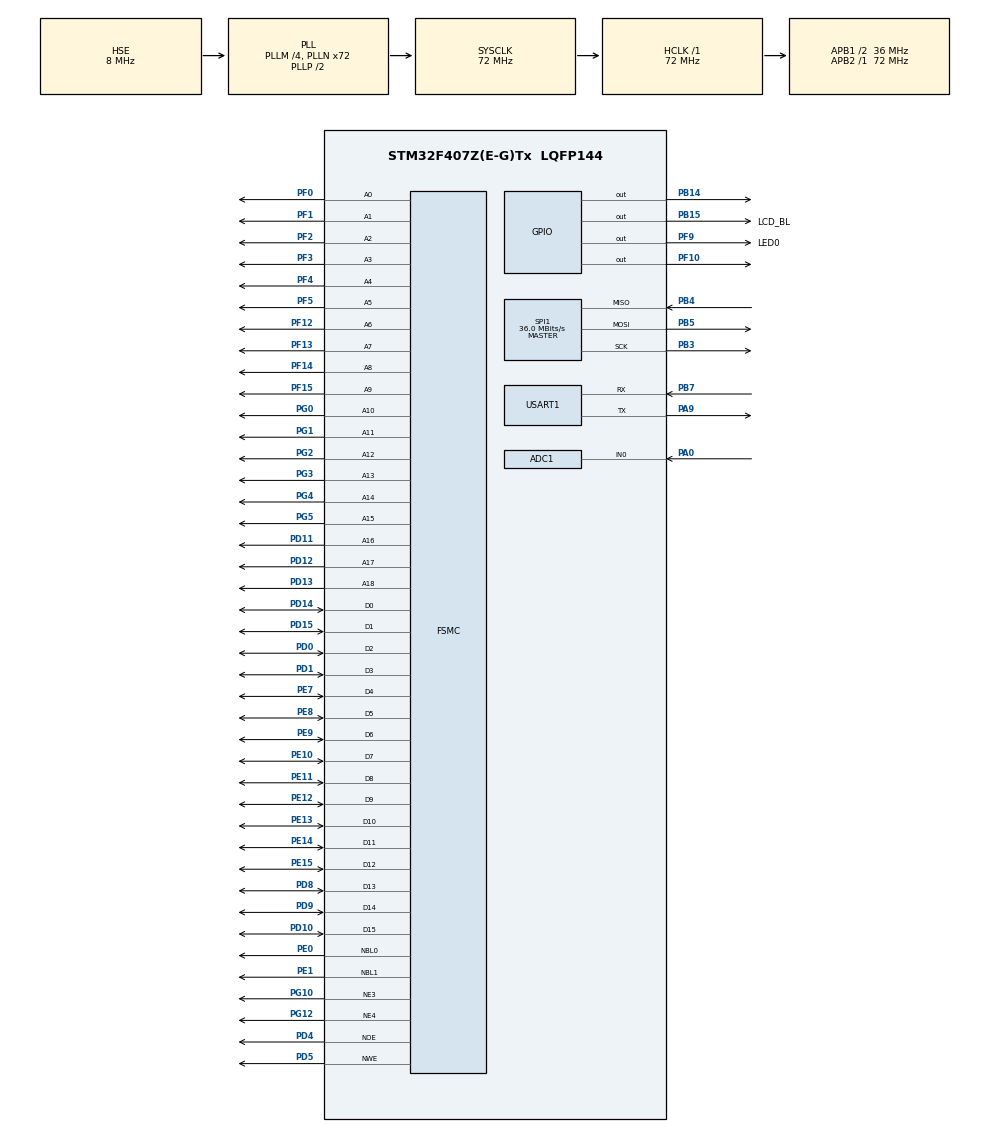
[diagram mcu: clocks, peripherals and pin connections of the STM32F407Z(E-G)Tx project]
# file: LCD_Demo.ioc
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ADC1.Channel-0\#ChannelRegularConversion=ADC_CHANNEL_0
ADC1.ClockPrescaler=ADC_CLOCK_SYNC_PCLK_DIV4
ADC1.NbrOfConversionFlag=1
ADC1.Rank-0\#ChannelRegularConversion=1
ADC1.SamplingTime-0\#ChannelRegularConversion=ADC_SAMPLETIME_3CYCLES
ADC1.master=1
FSMC.AddressSetupTime2=0x00
FSMC.BusTurnAroundDuration1=0
FSMC.BusTurnAroundDuration2=0x00
FSMC.DataSetupTime1=60
FSMC.DataSetupTime2=0x08
FSMC.ExtendedAddressSetupTime1=9
FSMC.ExtendedBusTurnAroundDuration1=0
FSMC.ExtendedDataSetupTime1=8
FSMC.ExtendedMode1=FSMC_EXTENDED_MODE_ENABLE
FSMC.WriteOperation2=FSMC_WRITE_OPERATION_ENABLE
Mcu.Family=STM32F4
Mcu.Name=STM32F407Z(E-G)Tx
Mcu.Package=LQFP144
NVIC.ADC_IRQn=true\:0\:0\:false\:false\:true\:true\:true
NVIC.PriorityGroup=NVIC_PRIORITYGROUP_4
NVIC.TIM3_IRQn=true\:1\:0\:true\:false\:true\:true\:true
PA0-WKUP.Signal=ADCx_IN0
PA13.Mode=Serial_Wire
PA13.Signal=SYS_JTMS-SWDIO
PA14.Mode=Serial_Wire
PA14.Signal=SYS_JTCK-SWCLK
PA9.Mode=Asynchronous
PA9.Signal=USART1_TX
PB14.Signal=GPIO_Output
PB15.GPIO_Label=LCD_BL
PB15.Signal=GPIO_Output
PB3.Mode=Full_Duplex_Master
PB3.Signal=SPI1_SCK
PB4.Mode=Full_Duplex_Master
PB4.Signal=SPI1_MISO
PB5.Mode=Full_Duplex_Master
PB5.Signal=SPI1_MOSI
PB7.Mode=Asynchronous
PB7.Signal=USART1_RX
PC14-OSC32_IN.Mode=LSE-External-Oscillator
PC14-OSC32_IN.Signal=RCC_OSC32_IN
PC15-OSC32_OUT.Mode=LSE-External-Oscillator
PC15-OSC32_OUT.Signal=RCC_OSC32_OUT
PD0.Signal=FSMC_D2_DA2
PD1.Signal=FSMC_D3_DA3
PD10.Signal=FSMC_D15_DA15
PD11.Signal=FSMC_A16_CLE
PD12.Signal=FSMC_A17_ALE
PD13.Signal=FSMC_A18
PD14.Signal=FSMC_D0_DA0
PD15.Signal=FSMC_D1_DA1
PD4.Signal=FSMC_NOE
PD5.Signal=FSMC_NWE
PD8.Signal=FSMC_D13_DA13
PD9.Signal=FSMC_D14_DA14
PE0.Signal=FSMC_NBL0
PE1.Signal=FSMC_NBL1
PE10.Signal=FSMC_D7_DA7
PE11.Signal=FSMC_D8_DA8
PE12.Signal=FSMC_D9_DA9
PE13.Signal=FSMC_D10_DA10
PE14.Signal=FSMC_D11_DA11
PE15.Signal=FSMC_D12_DA12
PE7.Signal=FSMC_D4_DA4
PE8.Signal=FSMC_D5_DA5
PE9.Signal=FSMC_D6_DA6
PF0.Signal=FSMC_A0
PF1.Signal=FSMC_A1
PF10.Signal=GPIO_Output
PF12.Signal=FSMC_A6
PF13.Signal=FSMC_A7
PF14.Signal=FSMC_A8
PF15.Signal=FSMC_A9
PF2.Signal=FSMC_A2
PF3.Signal=FSMC_A3
PF4.Signal=FSMC_A4
PF5.Signal=FSMC_A5
PF9.GPIO_Label=LED0
PF9.Signal=GPIO_Output
PG0.Signal=FSMC_A10
PG1.Signal=FSMC_A11
PG10.Mode=NorPsramChipSelect3_2
PG10.Signal=FSMC_NE3
PG12.Mode=NorPsramChipSelect4_1
PG12.Signal=FSMC_NE4
PG2.Signal=FSMC_A12
PG3.Signal=FSMC_A13
PG4.Signal=FSMC_A14
PG5.Signal=FSMC_A15
PH0-OSC_IN.Mode=HSE-External-Oscillator
PH0-OSC_IN.Signal=RCC_OSC_IN
PH1-OSC_OUT.Mode=HSE-External-Oscillator
PH1-OSC_OUT.Signal=RCC_OSC_OUT
ProjectManager.HeapSize=0x200
ProjectManager.StackSize=0x400
ProjectManager.TargetToolchain=MDK-ARM V5.32
RCC.48MHZClocksFreq_Value=48000000
RCC.AHBFreq_Value=72000000
RCC.APB1CLKDivider=RCC_HCLK_DIV2
RCC.APB1Freq_Value=36000000
RCC.APB1TimFreq_Value=72000000
RCC.APB2Freq_Value=72000000
RCC.APB2TimFreq_Value=72000000
RCC.CortexFreq_Value=72000000
RCC.HCLKFreq_Value=72000000
RCC.HSE_VALUE=8000000
RCC.HSI_VALUE=16000000
RCC.PLLM=4
RCC.PLLN=72
RCC.PLLQ=3
RCC.PLLSourceVirtual=RCC_PLLSOURCE_HSE
RCC.SYSCLKFreq_VALUE=72000000
RCC.SYSCLKSource=RCC_SYSCLKSOURCE_PLLCLK
RCC.VCOOutputFreq_Value=144000000
SH.ADCx_IN0.0=ADC1_IN0,IN0
SH.FSMC_A0.0=FSMC_A0,19b-a2
SH.FSMC_A1.0=FSMC_A1,19b-a2
SH.FSMC_A10.0=FSMC_A10,19b-a2
SH.FSMC_A11.0=FSMC_A11,19b-a2
SH.FSMC_A12.0=FSMC_A12,19b-a2
SH.FSMC_A13.0=FSMC_A13,19b-a2
SH.FSMC_A14.0=FSMC_A14,19b-a2
SH.FSMC_A15.0=FSMC_A15,19b-a2
SH.FSMC_A16_CLE.0=FSMC_A16,19b-a2
SH.FSMC_A17_ALE.0=FSMC_A17,19b-a2
SH.FSMC_A18.0=FSMC_A18,19b-a2
SH.FSMC_A2.0=FSMC_A2,19b-a2
SH.FSMC_A3.0=FSMC_A3,19b-a2
SH.FSMC_A4.0=FSMC_A4,19b-a2
SH.FSMC_A5.0=FSMC_A5,19b-a2
SH.FSMC_A6.0=FSMC_A6,A6_1
SH.FSMC_A6.1=FSMC_A6,19b-a2
SH.FSMC_A7.0=FSMC_A7,19b-a2
SH.FSMC_A8.0=FSMC_A8,19b-a2
SH.FSMC_A9.0=FSMC_A9,19b-a2
SH.FSMC_D0_DA0.0=FSMC_D0,16b-d1
SH.FSMC_D0_DA0.1=FSMC_D0,16b-d2
SH.FSMC_D10_DA10.0=FSMC_D10,16b-d1
SH.FSMC_D10_DA10.1=FSMC_D10,16b-d2
SH.FSMC_D11_DA11.0=FSMC_D11,16b-d1
SH.FSMC_D11_DA11.1=FSMC_D11,16b-d2
SH.FSMC_D12_DA12.0=FSMC_D12,16b-d1
SH.FSMC_D12_DA12.1=FSMC_D12,16b-d2
SH.FSMC_D13_DA13.0=FSMC_D13,16b-d1
SH.FSMC_D13_DA13.1=FSMC_D13,16b-d2
SH.FSMC_D14_DA14.0=FSMC_D14,16b-d1
SH.FSMC_D14_DA14.1=FSMC_D14,16b-d2
SH.FSMC_D15_DA15.0=FSMC_D15,16b-d1
SH.FSMC_D15_DA15.1=FSMC_D15,16b-d2
SH.FSMC_D1_DA1.0=FSMC_D1,16b-d1
SH.FSMC_D1_DA1.1=FSMC_D1,16b-d2
SH.FSMC_D2_DA2.0=FSMC_D2,16b-d1
SH.FSMC_D2_DA2.1=FSMC_D2,16b-d2
SH.FSMC_D3_DA3.0=FSMC_D3,16b-d1
SH.FSMC_D3_DA3.1=FSMC_D3,16b-d2
SH.FSMC_D4_DA4.0=FSMC_D4,16b-d1
SH.FSMC_D4_DA4.1=FSMC_D4,16b-d2
SH.FSMC_D5_DA5.0=FSMC_D5,16b-d1
SH.FSMC_D5_DA5.1=FSMC_D5,16b-d2
SH.FSMC_D6_DA6.0=FSMC_D6,16b-d1
SH.FSMC_D6_DA6.1=FSMC_D6,16b-d2
SH.FSMC_D7_DA7.0=FSMC_D7,16b-d1
SH.FSMC_D7_DA7.1=FSMC_D7,16b-d2
SH.FSMC_D8_DA8.0=FSMC_D8,16b-d1
SH.FSMC_D8_DA8.1=FSMC_D8,16b-d2
SH.FSMC_D9_DA9.0=FSMC_D9,16b-d1
SH.FSMC_D9_DA9.1=FSMC_D9,16b-d2
SH.FSMC_NBL0.0=FSMC_NBL0,2ByteEnable2
SH.FSMC_NBL1.0=FSMC_NBL1,2ByteEnable2
SH.FSMC_NOE.0=FSMC_NOE,Lcd1
SH.FSMC_NOE.1=FSMC_NOE,Sram2
SH.FSMC_NWE.0=FSMC_NWE,Lcd1
SH.FSMC_NWE.1=FSMC_NWE,Sram2
SPI1.CalculateBaudRate=36.0 MBits/s
SPI1.Direction=SPI_DIRECTION_2LINES
SPI1.Mode=SPI_MODE_MASTER
SPI1.VirtualType=VM_MASTER
TIM3.AutoReloadPreload=TIM_AUTORELOAD_PRELOAD_DISABLE
TIM3.Period=4899
TIM3.Prescaler=8399
TIM3.TIM_MasterOutputTrigger=TIM_TRGO_RESET
USART1.VirtualMode=VM_ASYNC
VP_TIM3_VS_ClockSourceINT.Mode=Internal
board=custom

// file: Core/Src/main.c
/* USER CODE BEGIN Header */
/**
 ******************************************************************************
 * @file           : main.c
 * @brief          : Main program body
 ******************************************************************************
 * @attention
 *
 * <h2><center>&copy; Copyright (c) 2022 STMicroelectronics.
 * All rights reserved.</center></h2>
 *
 * This software component is licensed by ST under BSD 3-Clause license,
 * the "License"; You may not use this file except in compliance with the
 * License. You may obtain a copy of the License at:
 *                        opensource.org/licenses/BSD-3-Clause
 *
 ******************************************************************************
 */
/* USER CODE END Header */
#include "main.h"
#include "adc.h"
#include "spi.h"
#include "tim.h"
#include "usart.h"
#include "gpio.h"
#include "fsmc.h"

/* USER CODE BEGIN Includes */
#include "lcd.h"               //TFT液晶屏驱动
#include "stdio.h"             //使用printf函数需要包含，注意串口需要重定向
#include "arm_const_structs.h" //DSP库
#include "sram.h"							 //SRAM驱动
#include "w25qxx.h"
/* USER CODE END Includes */

/* USER CODE BEGIN PD */
int fputc(int ch, FILE *f) // printf重定向
{
    uint8_t temp[1] = {ch};
    HAL_UART_Transmit(&huart1, temp, 1, 2); //串口1使用huart1
    return 0;
}
/* USER CODE END PD */

/* USER CODE BEGIN PV */

uint16_t id;
/* USER CODE END PV */

void SystemClock_Config(void);
/* USER CODE BEGIN PFP */
void fsmc_sram_test(u16 x,u16 y)
{
	u32 i=0;
	u8 temp=0;
	u8 sval=0;	//在地址0读到的数据
  	LCD_ShowString(x,y,239,y+16,16,"Ex Memory Test:   0KB");
	//每隔4K字节,写入一个数据,总共写入256个数据,刚好是1M字节
	for(i=0;i<1024*1024;i+=4096)
	{
		FSMC_SRAM_WriteBuffer(&temp,i,1);
		temp++;
	}
	//依次读出之前写入的数据,进行校验
 	for(i=0;i<1024*1024;i+=4096)
	{
  		FSMC_SRAM_ReadBuffer(&temp,i,1);
		if(i==0)sval=temp;
 		else if(temp<=sval)break;//后面读出的数据一定要比第一次读到的数据大.
		LCD_ShowxNum(x+15*8,y,(u16)(temp-sval+1)*4,4,16,0);//显示内存容量
 	}
}
/* USER CODE END PFP */

/* USER CODE BEGIN 0 */
//外部内存测试(最大支持1M字节内存测试)

/* USER CODE END 0 */

int main(void)
{

  /* MCU Configuration--------------------------------------------------------*/

  /* Reset of all peripherals, Initializes the Flash interface and the Systick. */
  HAL_Init();

  /* Configure the system clock */
  SystemClock_Config();

  /* Initialize all configured peripherals */
  MX_GPIO_Init();
  MX_FSMC_Init();
  MX_USART1_UART_Init();
  MX_TIM3_Init();
  MX_ADC1_Init();
  MX_SPI1_Init();
  /* USER CODE BEGIN 2 */
	W25QXX_Init();
  HAL_Delay(5); // lcd初始化有时序问题需要给一个延时
  LCD_Init();
  LCD_DisplayOn(); //开启lcd显示

	LCD_Clear(GREEN);

	id=W25QXX_ReadID();

  /* USER CODE END 2 */

  /* Infinite loop */
    while (1)
    {
			fsmc_sram_test(60,170);//测试SRAM容量

			HAL_Delay(1000);

    }
}

void SystemClock_Config(void)
{
  RCC_OscInitTypeDef RCC_OscInitStruct = {0};
  RCC_ClkInitTypeDef RCC_ClkInitStruct = {0};

  /** Configure the main internal regulator output voltage
  */
  __HAL_RCC_PWR_CLK_ENABLE();
  __HAL_PWR_VOLTAGESCALING_CONFIG(PWR_REGULATOR_VOLTAGE_SCALE1);
  /** Initializes the RCC Oscillators according to the specified parameters
  * in the RCC_OscInitTypeDef structure.
  */
  RCC_OscInitStruct.OscillatorType = RCC_OSCILLATORTYPE_HSE;
  RCC_OscInitStruct.HSEState = RCC_HSE_ON;
  RCC_OscInitStruct.PLL.PLLState = RCC_PLL_ON;
  RCC_OscInitStruct.PLL.PLLSource = RCC_PLLSOURCE_HSE;
  RCC_OscInitStruct.PLL.PLLM = 4;
  RCC_OscInitStruct.PLL.PLLN = 72;
  RCC_OscInitStruct.PLL.PLLP = RCC_PLLP_DIV2;
  RCC_OscInitStruct.PLL.PLLQ = 3;
  if (HAL_RCC_OscConfig(&RCC_OscInitStruct) != HAL_OK)
  {
    Error_Handler();
  }
  /** Initializes the CPU, AHB and APB buses clocks
  */
  RCC_ClkInitStruct.ClockType = RCC_CLOCKTYPE_HCLK|RCC_CLOCKTYPE_SYSCLK
                              |RCC_CLOCKTYPE_PCLK1|RCC_CLOCKTYPE_PCLK2;
  RCC_ClkInitStruct.SYSCLKSource = RCC_SYSCLKSOURCE_PLLCLK;
  RCC_ClkInitStruct.AHBCLKDivider = RCC_SYSCLK_DIV1;
  RCC_ClkInitStruct.APB1CLKDivider = RCC_HCLK_DIV2;
  RCC_ClkInitStruct.APB2CLKDivider = RCC_HCLK_DIV1;

  if (HAL_RCC_ClockConfig(&RCC_ClkInitStruct, FLASH_LATENCY_2) != HAL_OK)
  {
    Error_Handler();
  }
}

void Error_Handler(void)
{
    __disable_irq();
    while (1)
    {
    }
}

/************************ (C) COPYRIGHT STMicroelectronics *****END OF FILE****/
